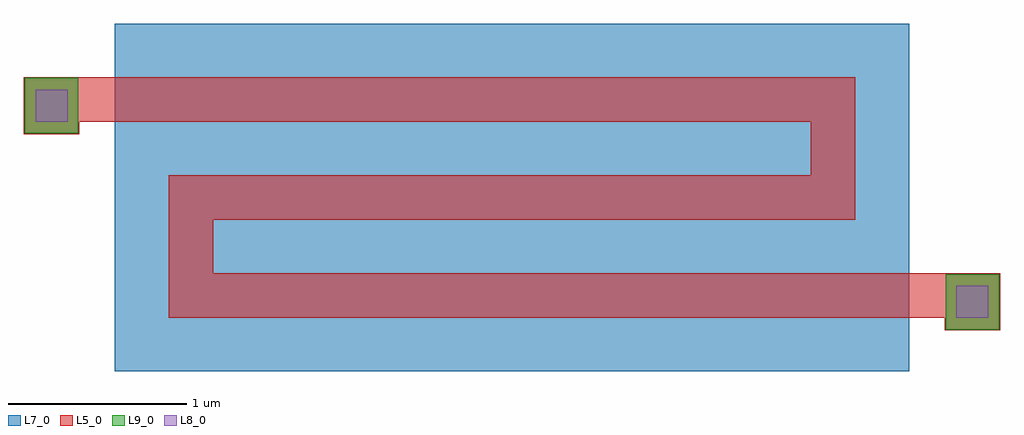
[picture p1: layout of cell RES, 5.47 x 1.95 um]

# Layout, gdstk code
import gdstk
lib = gdstk.Library(unit=1e-6, precision=1e-09)
def R(c, l, rs):  # rectangles x0, y0, x1, y1
    for r in rs: c.add(gdstk.rectangle(r[:2], r[2:], *l))
L5_0 = (5, 0)
L7_0 = (7, 0)
L8_0 = (8, 0)
L9_0 = (9, 0)

res = lib.new_cell('RES')
R(res, L5_0, [(5.16,0.23,5.47,0.55), (0,1.33,0.31,1.65)])
R(res, L7_0, [(0.51,0,4.96,1.95)])
R(res, L8_0, [(5.225,0.3,5.405,0.48), (0.065,1.4,0.245,1.58)])
R(res, L9_0, [(5.165,0.235,5.465,0.545), (0.005,1.335,0.305,1.645)])
res.add(gdstk.FlexPath([(0.31,1.525),(4.535,1.525),(4.535,0.975),(0.935,0.975),(0.935,0.425),(5.16,0.425)], 0.25, ends="flush", simple_path=True, layer=5, datatype=0))  # L5_0

lib.write_gds('RES.gds')
